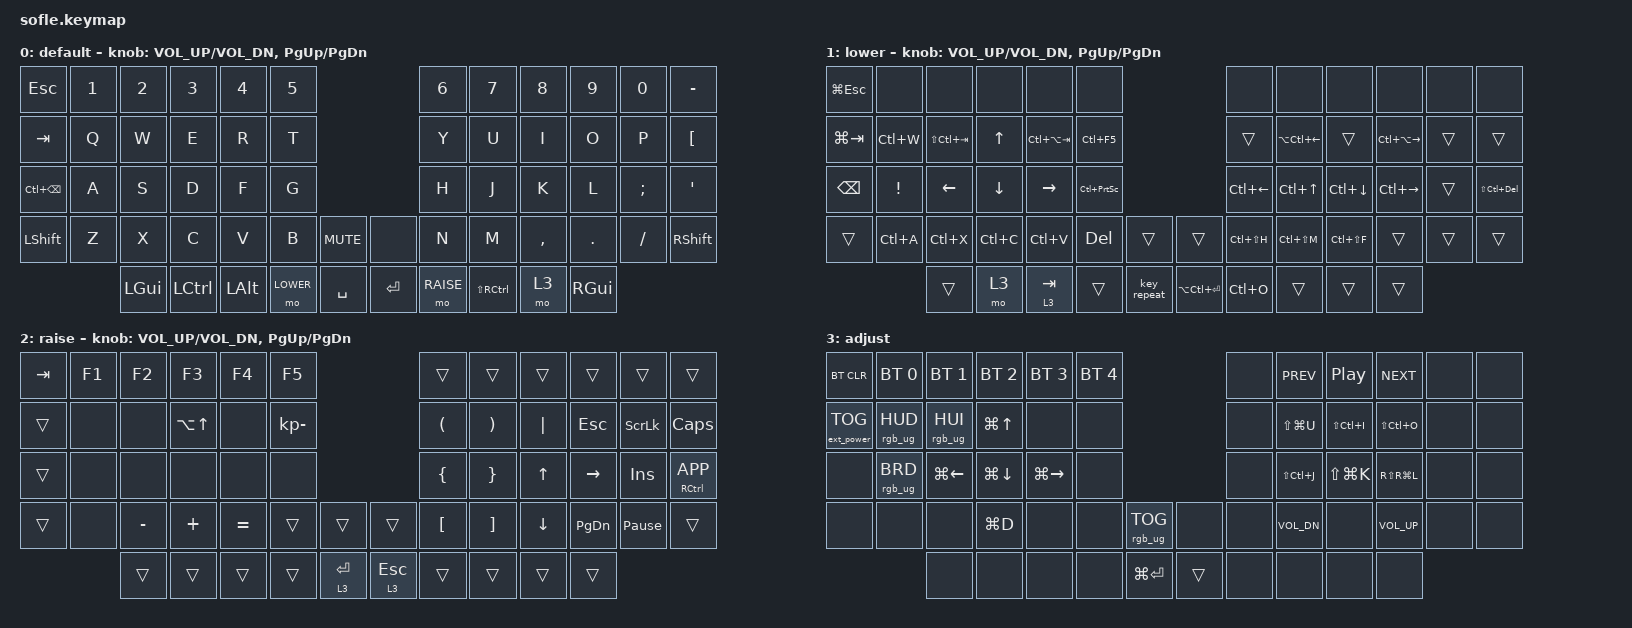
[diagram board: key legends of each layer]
/*
 * Copyright (c) 2020 The ZMK Contributors
 *
 * SPDX-License-Identifier: MIT
 */

#include <behaviors.dtsi>
#include <dt-bindings/zmk/bt.h>
#include <dt-bindings/zmk/ext_power.h>
#include <dt-bindings/zmk/keys.h>
#include <dt-bindings/zmk/rgb.h>

#define BASE 0
#define LOWER 1
#define RAISE 2
#define ADJUST 3

/ {
    // Activate ADJUST layer by pressing raise and lower

    conditional_layers {
        compatible = "zmk,conditional-layers";

        adjust_layer {
            if-layers = <LOWER RAISE>;
            then-layer = <ADJUST>;
        };
    };

    keymap {
        compatible = "zmk,keymap";

        default_layer {
            label = "default";

            // ------------------------------------------------------------------------------------------------------------
            // |   `   |  1  |  2  |  3   |  4   |  5   |                   |  6   |  7    |  8    |  9   |   0   |       |
            // |  ESC  |  Q  |  W  |  E   |  R   |  T   |                   |  Y   |  U    |  I    |  O   |   P   | BKSPC |
            // |  TAB  |  A  |  S  |  D   |  F   |  G   |                   |  H   |  J    |  K    |  L   |   ;   |   '   |
            // | SHIFT |  Z  |  X  |  C   |  V   |  B   |  MUTE  |  |       |  N   |  M    |  ,    |  .   |   /   | SHIFT |
            //               | GUI | ALT  | CTRL | LOWER|  ENTER |  | SPACE | RAISE| CTRL  | ALT   | GUI  |

            bindings = <
&kp ESCAPE         &kp N1  &kp N2    &kp N3            &kp N4        &kp N5                               &kp N6     &kp N7                 &kp N8     &kp N9    &kp N0    &kp MINUS
&kp TAB            &kp Q   &kp W     &kp E             &kp R         &kp T                                &kp Y      &kp U                  &kp I      &kp O     &kp P     &kp LEFT_BRACKET
&kp LC(BACKSPACE)  &kp A   &kp S     &kp D             &kp F         &kp G                                &kp H      &kp J                  &kp K      &kp L     &kp SEMI  &kp SQT
&kp LSHFT          &kp Z   &kp X     &kp C             &kp V         &kp B      &kp C_MUTE    &none       &kp N      &kp M                  &kp COMMA  &kp DOT   &kp FSLH  &kp RSHFT
                           &kp LGUI  &kp LEFT_CONTROL  &kp LEFT_ALT  &mo LOWER  &kp SPACE     &kp RETURN  &mo RAISE  &kp LS(RIGHT_CONTROL)  &mo 3      &kp RGUI
            >;

            sensor-bindings = <&inc_dec_kp C_VOL_UP C_VOL_DN &inc_dec_kp PG_UP PG_DN>;
        };

        lower_layer {
            label = "lower";

            // TODO: Some binds are waiting for shifted keycode support.
            // ------------------------------------------------------------------------------------------------------------
            // |       |  F1 |  F2 |  F3  |  F4  |  F5  |                   |  F6  |  F7   |  F8   |  F9  |  F10  |  F11  |
            // |   `   |  1  |  2  |  3   |  4   |  5   |                   |  6   |  7    |  8    |  9   |   0   |  F12  |
            // |       |  !  |  @  |  #   |  $   |  %   |                   |  ^   |  &    |  *    |  (   |   )   |   |   |
            // |       |  =  |  -  |  +   |  {   |  }   |        |  |       |  [   |  ]    |  ;    |  :   |   \   |       |
            //               |     |      |      |      |        |  |       |      |       |       |      |

            bindings = <
&kp LG(ESC)    &none      &none            &none         &none            &none                                            &none               &none             &none          &none              &none   &none
&kp LG(TAB)    &kp LC(W)  &kp LS(LC(TAB))  &kp UP_ARROW  &kp LC(LA(TAB))  &kp LC(F5)                                       &trans              &kp LA(LC(LEFT))  &trans         &kp LC(LA(RIGHT))  &trans  &trans
&kp BACKSPACE  &kp EXCL   &kp LEFT_ARROW   &kp DOWN      &kp RIGHT        &kp LC(PSCRN)                                    &kp LC(LEFT_ARROW)  &kp LC(UP_ARROW)  &kp LC(DOWN)   &kp LC(RIGHT)      &trans  &kp LS(LC(DELETE))
&trans         &kp LC(A)  &kp LC(X)        &kp LC(C)     &kp LC(V)        &kp DELETE     &trans         &trans             &kp LC(LS(H))       &kp LC(LS(M))     &kp LC(LS(F))  &trans             &trans  &trans
                          &trans           &mo 3         &lt 3 TAB        &trans         &key_repeat    &kp LA(LC(ENTER))  &kp LC(O)           &trans            &trans         &trans
            >;

            sensor-bindings = <&inc_dec_kp C_VOL_UP C_VOL_DN &inc_dec_kp PG_UP PG_DN>;
        };

        raise_layer {
            label = "raise";

            // ------------------------------------------------------------------------------------------------------------
            // | BTCLR | BT1  | BT2  |  BT3  |  BT4  |  BT5 |                |      |      |       |      |       |       |
            // |       | INS  | PSCR | GUI   |       |      |                | PGUP |      |   ^   |      |       |       |
            // |       | ALT  | CTRL | SHIFT |       | CAPS |                | PGDN |   <- |   v   |  ->  |  DEL  | BKSPC |
            // |       | UNDO | CUT  | COPY  | PASTE |      |      |  |      |      |      |       |      |       |       |
            //                |      |       |       |      |      |  |      |      |      |       |      |

            bindings = <
&kp TAB  &kp F1  &kp F2     &kp F3            &kp F4     &kp F5                                  &trans                &trans                 &trans        &trans     &trans           &trans
&trans   &none   &none      &kp LA(UP_ARROW)  &none      &kp KP_MINUS                            &kp LEFT_PARENTHESIS  &kp RIGHT_PARENTHESIS  &kp PIPE      &kp ESC    &kp SLCK         &kp CAPS
&trans   &none   &none      &none             &none      &none                                   &kp LEFT_BRACE        &kp RIGHT_BRACE        &kp UP_ARROW  &kp RIGHT  &kp INS          &mt RIGHT_CONTROL K_APP
&trans   &none   &kp MINUS  &kp PLUS          &kp EQUAL  &trans        &trans         &trans     &kp LEFT_BRACKET      &kp RIGHT_BRACKET      &kp DOWN      &kp PG_DN  &kp PAUSE_BREAK  &trans
                 &trans     &trans            &trans     &trans        &lt 3 ENTER    &lt 3 ESC  &trans                &trans                 &trans        &trans
            >;

            sensor-bindings = <&inc_dec_kp C_VOL_UP C_VOL_DN &inc_dec_kp PG_UP PG_DN>;
        };

        adjust_layer {
            // ----------------------------------------------------------------------------------------------------------------------------
            // | BTCLR  |  BT1    |  BT2    |   BT3   |   BT4   |   BT5   |                  |      |      |       |      |       |       |
            // | EXTPWR | RGB_HUD | RGB_HUI | RGB_SAD | RGB_SAI | RGB_EFF |                  |      |      |       |      |       |       |
            // |        | RGB_BRD | RGB_BRI |         |         |         |                  |      |      |       |      |       |       |
            // |        |         |         |         |         |         | RGB_TOG | |      |      |      |       |      |       |       |
            //                    |         |         |         |         |         | |      |      |      |       |      |

            label = "adjust";
            bindings = <
&bt BT_CLR         &bt BT_SEL 0     &bt BT_SEL 1     &bt BT_SEL 2      &bt BT_SEL 3   &bt BT_SEL 4                             &none  &kp K_PREV     &kp C_PP       &kp K_NEXT     &none  &none
&ext_power EP_TOG  &rgb_ug RGB_HUD  &rgb_ug RGB_HUI  &kp LG(UP_ARROW)  &none          &none                                    &none  &kp LS(LG(U))  &kp LS(LC(I))  &kp LS(LC(O))  &none  &none
&none              &rgb_ug RGB_BRD  &kp LG(LEFT)     &kp LG(DOWN)      &kp LG(RIGHT)  &none                                    &none  &kp LS(LC(J))  &kp LS(LG(K))  &kp RS(RG(L))  &none  &none
&none              &none            &none            &kp LG(D)         &none          &none         &rgb_ug RGB_TOG    &none   &none  &kp C_VOL_DN   &none          &kp C_VOL_UP   &none  &none
                                    &none            &none             &none          &none         &kp LG(ENTER)      &trans  &none  &none          &none          &none
            >;
        };
    };
};
